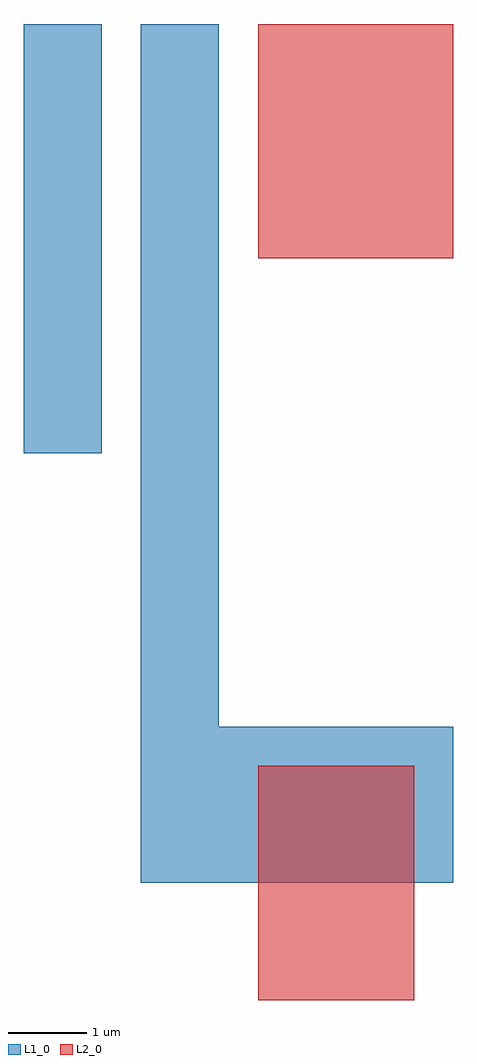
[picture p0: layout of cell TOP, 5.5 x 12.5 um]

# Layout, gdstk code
import gdstk
lib = gdstk.Library(unit=1e-6, precision=1e-09)
def R(c, l, rs):  # rectangles x0, y0, x1, y1
    for r in rs: c.add(gdstk.rectangle(r[:2], r[2:], *l))
L1_0 = (1, 0)
L2_0 = (2, 0)
L1000_0 = (1000, 0)
L1001_0 = (1001, 0)
L1002_0 = (1002, 0)
L1003_0 = (1003, 0)

part = lib.new_cell('PART')
R(part, L1_0, [(0,0,1,5.5)])

top = lib.new_cell('TOP')
R(top, L1_0, [(1,-5.5,4,-3.5)])
R(top, L2_0, [(1.5,-7,3.5,-4), (1.5,2.5,4,5.5)])
top.add(gdstk.FlexPath([(0,-3.5),(0,5.5)], 0, ends="flush", simple_path=True, layer=1000, datatype=0))  # L1000_0
top.add(gdstk.FlexPath([(1,5.5),(1,-3.5)], 0, ends="flush", simple_path=True, layer=1000, datatype=0))  # L1000_0
top.add(gdstk.FlexPath([(-1.5,0),(-1.5,5.5)], 0, ends="flush", simple_path=True, layer=1000, datatype=0))  # L1000_0
top.add(gdstk.FlexPath([(-0.5,5.5),(-0.5,0)], 0, ends="flush", simple_path=True, layer=1000, datatype=0))  # L1000_0
top.add(gdstk.FlexPath([(0,0),(0,5.5)], 0, ends="flush", simple_path=True, layer=1001, datatype=0))  # L1001_0
top.add(gdstk.FlexPath([(-0.5,5.5),(-0.5,0)], 0, ends="flush", simple_path=True, layer=1001, datatype=0))  # L1001_0
top.add(gdstk.FlexPath([(1,5.5),(1,2.5)], 0, ends="flush", simple_path=True, layer=1002, datatype=0))  # L1002_0
top.add(gdstk.FlexPath([(1.5,2.5),(1.5,5.5)], 0, ends="flush", simple_path=True, layer=1002, datatype=0))  # L1002_0
top.add(gdstk.FlexPath([(0,0),(0,5.5)], 0, ends="flush", simple_path=True, layer=1003, datatype=0))  # L1003_0
top.add(gdstk.FlexPath([(-0.5,5.5),(-0.5,0)], 0, ends="flush", simple_path=True, layer=1003, datatype=0))  # L1003_0
top.add(gdstk.Reference(part, (0,0)))
top.add(gdstk.Reference(part, (0,-5.5)))
top.add(gdstk.Reference(part, (-1.5,0)))

lib.write_gds('TOP.gds')
